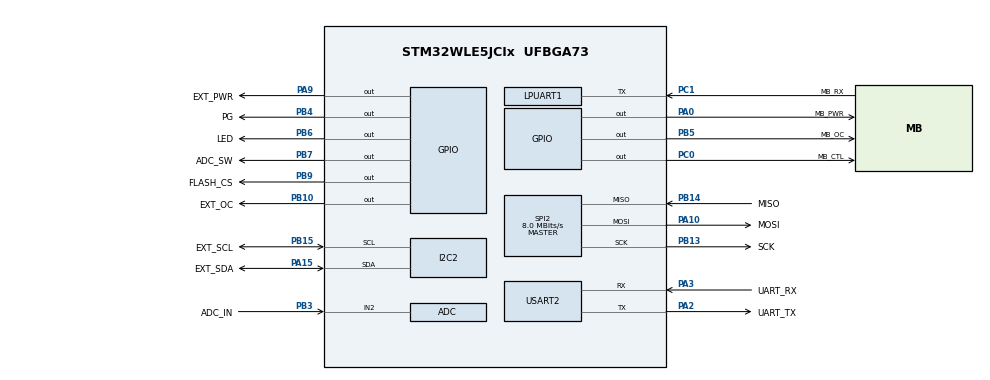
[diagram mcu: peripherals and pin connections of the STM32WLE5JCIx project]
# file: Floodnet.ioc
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ADC.NbrOfConversion=1
ADC.SelectedChannel=ADC_CHANNEL_2
I2C2.Timing=0x20303E5D
LPUART1.BaudRate=9600
LPUART1.FIFOMode=UART_FIFOMODE_ENABLE
LPUART1.Mode=UART_MODE_RX
LPUART1.SwapParam=UART_ADVFEATURE_SWAP_ENABLE
Mcu.Family=STM32WL
Mcu.Name=STM32WLE5JCIx
Mcu.Package=UFBGA73
NVIC.PriorityGroup=NVIC_PRIORITYGROUP_4
NVIC.TIM16_IRQn=true\:15\:0\:true\:false\:true\:true\:true\:true
NVIC.USART2_IRQn=true\:5\:0\:true\:false\:true\:true\:true\:true
PA0.GPIO_Label=MB_PWR
PA0.Signal=GPIO_Output
PA10.GPIO_Label=MOSI
PA10.Mode=Full_Duplex_Master
PA10.Signal=SPI2_MOSI
PA13.GPIO_Label=SWDIO
PA13.Mode=Serial_Wire
PA13.Signal=DEBUG_JTMS-SWDIO
PA14.GPIO_Label=SWCLK
PA14.Mode=Serial_Wire
PA14.Signal=DEBUG_JTCK-SWCLK
PA15.GPIO_Label=EXT_SDA
PA15.Mode=I2C
PA15.Signal=I2C2_SDA
PA2.GPIO_Label=UART_TX
PA2.Mode=Asynchronous
PA2.Signal=USART2_TX
PA3.GPIO_Label=UART_RX
PA3.Mode=Asynchronous
PA3.Signal=USART2_RX
PA9.GPIO_Label=EXT_PWR
PA9.Signal=GPIO_Output
PB10.GPIO_Label=EXT_OC
PB10.Signal=GPIO_Output
PB13.GPIO_Label=SCK
PB13.Mode=Full_Duplex_Master
PB13.Signal=SPI2_SCK
PB14.GPIO_Label=MISO
PB14.Mode=Full_Duplex_Master
PB14.Signal=SPI2_MISO
PB15.GPIO_Label=EXT_SCL
PB15.Mode=I2C
PB15.Signal=I2C2_SCL
PB3.GPIO_Label=ADC_IN
PB3.Mode=IN2
PB3.Signal=ADC_IN2
PB4.GPIO_Label=PG
PB4.Signal=GPIO_Output
PB5.GPIO_Label=MB_OC
PB5.Signal=GPIO_Output
PB6.GPIO_Label=LED
PB6.Signal=GPIO_Output
PB7.GPIO_Label=ADC_SW
PB7.Signal=GPIO_Output
PB9.GPIO_Label=FLASH_CS
PB9.Signal=GPIO_Output
PC0.GPIO_Label=MB_CTL
PC0.Signal=GPIO_Output
PC1.GPIO_Label=MB_RX
PC1.Mode=Half_duplex(single_wire_mode)
PC1.Signal=LPUART1_TX
ProjectManager.HeapSize=0x200
ProjectManager.StackSize=0x400
ProjectManager.TargetToolchain=STM32CubeIDE
RCC.AHBFreq_Value=48000000
RCC.APB1Freq_Value=48000000
RCC.APB1TimFreq_Value=48000000
RCC.APB2Freq_Value=48000000
RCC.APB2TimFreq_Value=48000000
RCC.APB3Freq_Value=48000000
RCC.CortexFreq_Value=48000000
RCC.HCLKFreq_Value=48000000
RCC.HSE_VALUE=8000000
RCC.HSI_VALUE=16000000
RCC.LPUART1CLockSelection=RCC_LPUART1CLKSOURCE_HSI
RCC.LSE_VALUE=32768
RCC.MSIClockRange=RCC_MSIRANGE_11
RCC.SYSCLKFreq_VALUE=48000000
RCC.VCOOutputFreq_Value=384000000
RTC.Alarm-Alarm\ A=RTC_ALARM_A
SPI2.CalculateBaudRate=8.0 MBits/s
SPI2.DataSize=SPI_DATASIZE_8BIT
SPI2.Direction=SPI_DIRECTION_2LINES
SPI2.Mode=SPI_MODE_MASTER
SPI2.VirtualType=VM_MASTER
TIM16.Period=47999
USART2.VirtualMode-Asynchronous=VM_ASYNC
VP_RTC_VS_RTC_Activate.Mode=RTC_Enabled
VP_RTC_VS_RTC_Alarm_A_Intern.Mode=Alarm A
VP_RTC_VS_RTC_Calendar.Mode=RTC_Calendar
VP_TIM16_VS_ClockSourceINT.Mode=Enable_Timer
board=custom

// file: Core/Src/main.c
/* USER CODE BEGIN Header */
/**
  ******************************************************************************
  * @file           : main.c
  * @brief          : Main program body
  ******************************************************************************
  * @attention
  *
  * Copyright (c) 2023 STMicroelectronics.
  * All rights reserved.
  *
  * This software is licensed under terms that can be found in the LICENSE file
  * in the root directory of this software component.
  * If no LICENSE file comes with this software, it is provided AS-IS.
  *
  ******************************************************************************
  */
/* USER CODE END Header */
#include "main.h"

/* USER CODE BEGIN Includes */
#include "DeviceCommands.h"
#include "Uart.h"
#include "ExtFlash.h"
#include "scheduler.h"
#include "sys_tick.h"
/* USER CODE END Includes */

ADC_HandleTypeDef hadc;

I2C_HandleTypeDef hi2c2;

UART_HandleTypeDef hlpuart1;
UART_HandleTypeDef huart2;

RTC_HandleTypeDef hrtc;

SPI_HandleTypeDef hspi2;

TIM_HandleTypeDef htim16;

void SystemClock_Config(void);
static void MX_GPIO_Init(void);
static void MX_LPUART1_UART_Init(void);
static void MX_USART2_UART_Init(void);
static void MX_ADC_Init(void);
static void MX_I2C2_Init(void);
static void MX_SPI2_Init(void);
static void MX_RTC_Init(void);
static void MX_TIM16_Init(void);

int main(void)
{

  /* MCU Configuration--------------------------------------------------------*/

  /* Reset of all peripherals, Initializes the Flash interface and the Systick. */
  HAL_Init();

  /* Configure the system clock */
  SystemClock_Config();

  /* Initialize all configured peripherals */
  MX_GPIO_Init();
  MX_LPUART1_UART_Init();
  MX_USART2_UART_Init();
  MX_ADC_Init();
  MX_I2C2_Init();
  MX_SPI2_Init();
  MX_RTC_Init();
  MX_TIM16_Init();
  /* USER CODE BEGIN 2 */
  uint8_t uartData[1];
  HAL_UART_Receive_IT(Get_DebugHandle(),(uint8_t*)uartData,UART_DMA_RECEIVE_SIZE);
  Tick_Init();
  OS_Init();
  /* USER CODE END 2 */

  /* Infinite loop */
  while (1)
  {

    /* USER CODE BEGIN 3 */
	 OS_Run();
  }
  /* USER CODE END 3 */
}

void SystemClock_Config(void)
{
  RCC_OscInitTypeDef RCC_OscInitStruct = {0};
  RCC_ClkInitTypeDef RCC_ClkInitStruct = {0};

  /** Configure the main internal regulator output voltage
  */
  __HAL_PWR_VOLTAGESCALING_CONFIG(PWR_REGULATOR_VOLTAGE_SCALE1);

  /** Initializes the CPU, AHB and APB buses clocks
  */
  RCC_OscInitStruct.OscillatorType = RCC_OSCILLATORTYPE_HSI|RCC_OSCILLATORTYPE_LSI
                              |RCC_OSCILLATORTYPE_MSI;
  RCC_OscInitStruct.HSIState = RCC_HSI_ON;
  RCC_OscInitStruct.MSIState = RCC_MSI_ON;
  RCC_OscInitStruct.HSICalibrationValue = RCC_HSICALIBRATION_DEFAULT;
  RCC_OscInitStruct.MSICalibrationValue = RCC_MSICALIBRATION_DEFAULT;
  RCC_OscInitStruct.MSIClockRange = RCC_MSIRANGE_11;
  RCC_OscInitStruct.LSIDiv = RCC_LSI_DIV1;
  RCC_OscInitStruct.LSIState = RCC_LSI_ON;
  RCC_OscInitStruct.PLL.PLLState = RCC_PLL_NONE;
  if (HAL_RCC_OscConfig(&RCC_OscInitStruct) != HAL_OK)
  {
    Error_Handler();
  }

  /** Configure the SYSCLKSource, HCLK, PCLK1 and PCLK2 clocks dividers
  */
  RCC_ClkInitStruct.ClockType = RCC_CLOCKTYPE_HCLK3|RCC_CLOCKTYPE_HCLK
                              |RCC_CLOCKTYPE_SYSCLK|RCC_CLOCKTYPE_PCLK1
                              |RCC_CLOCKTYPE_PCLK2;
  RCC_ClkInitStruct.SYSCLKSource = RCC_SYSCLKSOURCE_MSI;
  RCC_ClkInitStruct.AHBCLKDivider = RCC_SYSCLK_DIV1;
  RCC_ClkInitStruct.APB1CLKDivider = RCC_HCLK_DIV1;
  RCC_ClkInitStruct.APB2CLKDivider = RCC_HCLK_DIV1;
  RCC_ClkInitStruct.AHBCLK3Divider = RCC_SYSCLK_DIV1;

  if (HAL_RCC_ClockConfig(&RCC_ClkInitStruct, FLASH_LATENCY_2) != HAL_OK)
  {
    Error_Handler();
  }
}

static void MX_ADC_Init(void)
{

  /** Configure the global features of the ADC (Clock, Resolution, Data Alignment and number of conversion)
  */
  hadc.Instance = ADC;
  hadc.Init.ClockPrescaler = ADC_CLOCK_SYNC_PCLK_DIV2;
  hadc.Init.Resolution = ADC_RESOLUTION_12B;
  hadc.Init.DataAlign = ADC_DATAALIGN_RIGHT;
  hadc.Init.ScanConvMode = ADC_SCAN_DISABLE;
  hadc.Init.EOCSelection = ADC_EOC_SINGLE_CONV;
  hadc.Init.LowPowerAutoWait = DISABLE;
  hadc.Init.LowPowerAutoPowerOff = DISABLE;
  hadc.Init.ContinuousConvMode = DISABLE;
  hadc.Init.NbrOfConversion = 1;
  hadc.Init.DiscontinuousConvMode = DISABLE;
  hadc.Init.ExternalTrigConv = ADC_SOFTWARE_START;
  hadc.Init.ExternalTrigConvEdge = ADC_EXTERNALTRIGCONVEDGE_NONE;
  hadc.Init.DMAContinuousRequests = DISABLE;
  hadc.Init.Overrun = ADC_OVR_DATA_PRESERVED;
  hadc.Init.SamplingTimeCommon1 = ADC_SAMPLETIME_1CYCLE_5;
  hadc.Init.SamplingTimeCommon2 = ADC_SAMPLETIME_1CYCLE_5;
  hadc.Init.OversamplingMode = DISABLE;
  hadc.Init.TriggerFrequencyMode = ADC_TRIGGER_FREQ_HIGH;
  if (HAL_ADC_Init(&hadc) != HAL_OK)
  {
    Error_Handler();
  }

}

static void MX_I2C2_Init(void)
{

  hi2c2.Instance = I2C2;
  hi2c2.Init.Timing = 0x20303E5D;
  hi2c2.Init.OwnAddress1 = 0;
  hi2c2.Init.AddressingMode = I2C_ADDRESSINGMODE_7BIT;
  hi2c2.Init.DualAddressMode = I2C_DUALADDRESS_DISABLE;
  hi2c2.Init.OwnAddress2 = 0;
  hi2c2.Init.OwnAddress2Masks = I2C_OA2_NOMASK;
  hi2c2.Init.GeneralCallMode = I2C_GENERALCALL_DISABLE;
  hi2c2.Init.NoStretchMode = I2C_NOSTRETCH_DISABLE;
  if (HAL_I2C_Init(&hi2c2) != HAL_OK)
  {
    Error_Handler();
  }

  /** Configure Analogue filter
  */
  if (HAL_I2CEx_ConfigAnalogFilter(&hi2c2, I2C_ANALOGFILTER_ENABLE) != HAL_OK)
  {
    Error_Handler();
  }

  /** Configure Digital filter
  */
  if (HAL_I2CEx_ConfigDigitalFilter(&hi2c2, 0) != HAL_OK)
  {
    Error_Handler();
  }

}

static void MX_LPUART1_UART_Init(void)
{

  hlpuart1.Instance = LPUART1;
  hlpuart1.Init.BaudRate = 9600;
  hlpuart1.Init.WordLength = UART_WORDLENGTH_8B;
  hlpuart1.Init.StopBits = UART_STOPBITS_1;
  hlpuart1.Init.Parity = UART_PARITY_NONE;
  hlpuart1.Init.Mode = UART_MODE_RX;
  hlpuart1.Init.HwFlowCtl = UART_HWCONTROL_NONE;
  hlpuart1.Init.OneBitSampling = UART_ONE_BIT_SAMPLE_DISABLE;
  hlpuart1.Init.ClockPrescaler = UART_PRESCALER_DIV1;
  hlpuart1.AdvancedInit.AdvFeatureInit = UART_ADVFEATURE_SWAP_INIT;
  hlpuart1.AdvancedInit.Swap = UART_ADVFEATURE_SWAP_ENABLE;
  if (HAL_HalfDuplex_Init(&hlpuart1) != HAL_OK)
  {
    Error_Handler();
  }
  if (HAL_UARTEx_SetTxFifoThreshold(&hlpuart1, UART_TXFIFO_THRESHOLD_1_8) != HAL_OK)
  {
    Error_Handler();
  }
  if (HAL_UARTEx_SetRxFifoThreshold(&hlpuart1, UART_RXFIFO_THRESHOLD_1_8) != HAL_OK)
  {
    Error_Handler();
  }
  if (HAL_UARTEx_EnableFifoMode(&hlpuart1) != HAL_OK)
  {
    Error_Handler();
  }

}

static void MX_USART2_UART_Init(void)
{

  huart2.Instance = USART2;
  huart2.Init.BaudRate = 115200;
  huart2.Init.WordLength = UART_WORDLENGTH_8B;
  huart2.Init.StopBits = UART_STOPBITS_1;
  huart2.Init.Parity = UART_PARITY_NONE;
  huart2.Init.Mode = UART_MODE_TX_RX;
  huart2.Init.HwFlowCtl = UART_HWCONTROL_NONE;
  huart2.Init.OverSampling = UART_OVERSAMPLING_16;
  huart2.Init.OneBitSampling = UART_ONE_BIT_SAMPLE_DISABLE;
  huart2.Init.ClockPrescaler = UART_PRESCALER_DIV1;
  huart2.AdvancedInit.AdvFeatureInit = UART_ADVFEATURE_NO_INIT;
  if (HAL_UART_Init(&huart2) != HAL_OK)
  {
    Error_Handler();
  }
  if (HAL_UARTEx_SetTxFifoThreshold(&huart2, UART_TXFIFO_THRESHOLD_1_8) != HAL_OK)
  {
    Error_Handler();
  }
  if (HAL_UARTEx_SetRxFifoThreshold(&huart2, UART_RXFIFO_THRESHOLD_1_8) != HAL_OK)
  {
    Error_Handler();
  }
  if (HAL_UARTEx_DisableFifoMode(&huart2) != HAL_OK)
  {
    Error_Handler();
  }

}

static void MX_RTC_Init(void)
{

  RTC_TimeTypeDef sTime = {0};
  RTC_DateTypeDef sDate = {0};
  RTC_AlarmTypeDef sAlarm = {0};

  /** Initialize RTC Only
  */
  hrtc.Instance = RTC;
  hrtc.Init.HourFormat = RTC_HOURFORMAT_24;
  hrtc.Init.AsynchPrediv = 127;
  hrtc.Init.SynchPrediv = 255;
  hrtc.Init.OutPut = RTC_OUTPUT_DISABLE;
  hrtc.Init.OutPutRemap = RTC_OUTPUT_REMAP_NONE;
  hrtc.Init.OutPutPolarity = RTC_OUTPUT_POLARITY_HIGH;
  hrtc.Init.OutPutType = RTC_OUTPUT_TYPE_OPENDRAIN;
  hrtc.Init.OutPutPullUp = RTC_OUTPUT_PULLUP_NONE;
  hrtc.Init.BinMode = RTC_BINARY_NONE;
  if (HAL_RTC_Init(&hrtc) != HAL_OK)
  {
    Error_Handler();
  }

  /** Initialize RTC and set the Time and Date
  */
  sTime.Hours = 0x0;
  sTime.Minutes = 0x0;
  sTime.Seconds = 0x0;
  sTime.DayLightSaving = RTC_DAYLIGHTSAVING_NONE;
  sTime.StoreOperation = RTC_STOREOPERATION_RESET;
  if (HAL_RTC_SetTime(&hrtc, &sTime, RTC_FORMAT_BCD) != HAL_OK)
  {
    Error_Handler();
  }
  sDate.WeekDay = RTC_WEEKDAY_MONDAY;
  sDate.Month = RTC_MONTH_JANUARY;
  sDate.Date = 0x1;
  sDate.Year = 0x0;

  if (HAL_RTC_SetDate(&hrtc, &sDate, RTC_FORMAT_BCD) != HAL_OK)
  {
    Error_Handler();
  }

  /** Enable the Alarm A
  */
  sAlarm.AlarmTime.Hours = 0x0;
  sAlarm.AlarmTime.Minutes = 0x0;
  sAlarm.AlarmTime.Seconds = 0x0;
  sAlarm.AlarmTime.SubSeconds = 0x0;
  sAlarm.AlarmTime.DayLightSaving = RTC_DAYLIGHTSAVING_NONE;
  sAlarm.AlarmTime.StoreOperation = RTC_STOREOPERATION_RESET;
  sAlarm.AlarmMask = RTC_ALARMMASK_NONE;
  sAlarm.AlarmSubSecondMask = RTC_ALARMSUBSECONDMASK_ALL;
  sAlarm.AlarmDateWeekDaySel = RTC_ALARMDATEWEEKDAYSEL_DATE;
  sAlarm.AlarmDateWeekDay = 0x1;
  sAlarm.Alarm = RTC_ALARM_A;
  if (HAL_RTC_SetAlarm(&hrtc, &sAlarm, RTC_FORMAT_BCD) != HAL_OK)
  {
    Error_Handler();
  }

}

static void MX_SPI2_Init(void)
{

  /* SPI2 parameter configuration*/
  hspi2.Instance = SPI2;
  hspi2.Init.Mode = SPI_MODE_MASTER;
  hspi2.Init.Direction = SPI_DIRECTION_2LINES;
  hspi2.Init.DataSize = SPI_DATASIZE_8BIT;
  hspi2.Init.CLKPolarity = SPI_POLARITY_LOW;
  hspi2.Init.CLKPhase = SPI_PHASE_1EDGE;
  hspi2.Init.NSS = SPI_NSS_SOFT;
  hspi2.Init.BaudRatePrescaler = SPI_BAUDRATEPRESCALER_2;
  hspi2.Init.FirstBit = SPI_FIRSTBIT_MSB;
  hspi2.Init.TIMode = SPI_TIMODE_DISABLE;
  hspi2.Init.CRCCalculation = SPI_CRCCALCULATION_DISABLE;
  hspi2.Init.CRCPolynomial = 7;
  hspi2.Init.CRCLength = SPI_CRC_LENGTH_DATASIZE;
  hspi2.Init.NSSPMode = SPI_NSS_PULSE_ENABLE;
  if (HAL_SPI_Init(&hspi2) != HAL_OK)
  {
    Error_Handler();
  }

}

static void MX_TIM16_Init(void)
{

  htim16.Instance = TIM16;
  htim16.Init.Prescaler = 0;
  htim16.Init.CounterMode = TIM_COUNTERMODE_UP;
  htim16.Init.Period = 47999;
  htim16.Init.ClockDivision = TIM_CLOCKDIVISION_DIV1;
  htim16.Init.RepetitionCounter = 0;
  htim16.Init.AutoReloadPreload = TIM_AUTORELOAD_PRELOAD_DISABLE;
  if (HAL_TIM_Base_Init(&htim16) != HAL_OK)
  {
    Error_Handler();
  }

}

static void MX_GPIO_Init(void)
{
  GPIO_InitTypeDef GPIO_InitStruct = {0};

  /* GPIO Ports Clock Enable */
  __HAL_RCC_GPIOA_CLK_ENABLE();
  __HAL_RCC_GPIOB_CLK_ENABLE();
  __HAL_RCC_GPIOC_CLK_ENABLE();

  /*Configure GPIO pin Output Level */
  HAL_GPIO_WritePin(GPIOB, PG_Pin|ADC_SW_Pin|FLASH_CS_Pin|MB_OC_Pin
                          |LED_Pin|EXT_OC_Pin, GPIO_PIN_RESET);

  /*Configure GPIO pin Output Level */
  HAL_GPIO_WritePin(GPIOA, MB_PWR_Pin|EXT_PWR_Pin, GPIO_PIN_RESET);

  /*Configure GPIO pin Output Level */
  HAL_GPIO_WritePin(MB_CTL_GPIO_Port, MB_CTL_Pin, GPIO_PIN_RESET);

  /*Configure GPIO pins : PG_Pin ADC_SW_Pin FLASH_CS_Pin MB_OC_Pin
                           LED_Pin EXT_OC_Pin */
  GPIO_InitStruct.Pin = PG_Pin|ADC_SW_Pin|FLASH_CS_Pin|MB_OC_Pin
                          |LED_Pin|EXT_OC_Pin;
  GPIO_InitStruct.Mode = GPIO_MODE_OUTPUT_PP;
  GPIO_InitStruct.Pull = GPIO_NOPULL;
  GPIO_InitStruct.Speed = GPIO_SPEED_FREQ_LOW;
  HAL_GPIO_Init(GPIOB, &GPIO_InitStruct);

  /*Configure GPIO pins : MB_PWR_Pin EXT_PWR_Pin */
  GPIO_InitStruct.Pin = MB_PWR_Pin|EXT_PWR_Pin;
  GPIO_InitStruct.Mode = GPIO_MODE_OUTPUT_PP;
  GPIO_InitStruct.Pull = GPIO_NOPULL;
  GPIO_InitStruct.Speed = GPIO_SPEED_FREQ_LOW;
  HAL_GPIO_Init(GPIOA, &GPIO_InitStruct);

  /*Configure GPIO pin : MB_CTL_Pin */
  GPIO_InitStruct.Pin = MB_CTL_Pin;
  GPIO_InitStruct.Mode = GPIO_MODE_OUTPUT_PP;
  GPIO_InitStruct.Pull = GPIO_NOPULL;
  GPIO_InitStruct.Speed = GPIO_SPEED_FREQ_LOW;
  HAL_GPIO_Init(MB_CTL_GPIO_Port, &GPIO_InitStruct);

}

/* USER CODE BEGIN 4 */

ADC_HandleTypeDef *Get_AdcHandle(void)
{
  return &hadc;
}

UART_HandleTypeDef *Get_DebugHandle(void)
{
  return &huart2;
}

UART_HandleTypeDef *Get_SonarHandle(void)
{
  return &hlpuart1;
}

SPI_HandleTypeDef   *Get_SpiHandle(void)
{
  return &hspi2;
}

I2C_HandleTypeDef   *Get_I2cHandle(void)
{
  return &hi2c2;
}

/* USER CODE END 4 */

void Error_Handler(void)
{
  __disable_irq();
  while (1)
  {
  }
}
